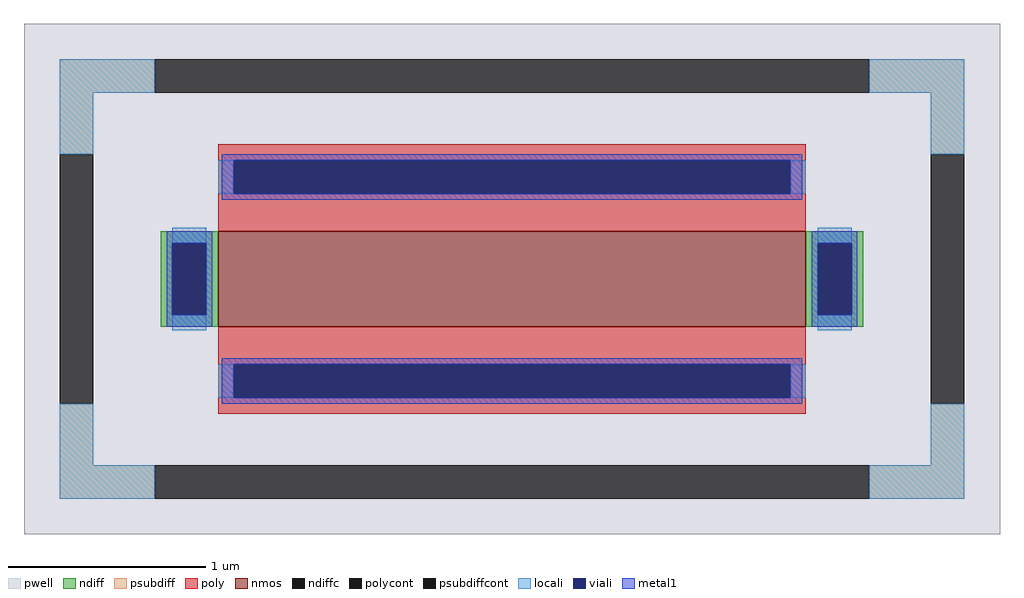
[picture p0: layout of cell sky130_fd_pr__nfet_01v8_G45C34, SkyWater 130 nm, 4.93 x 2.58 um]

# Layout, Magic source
magic
tech sky130A
magscale 1 2
<< pwell >>
rect -493 -258 493 258
<< nmos >>
rect -297 -48 297 48
<< ndiff >>
rect -355 36 -297 48
rect -355 -36 -343 36
rect -309 -36 -297 36
rect -355 -48 -297 -36
rect 297 36 355 48
rect 297 -36 309 36
rect 343 -36 355 36
rect 297 -48 355 -36
<< ndiffc >>
rect -343 -36 -309 36
rect 309 -36 343 36
<< psubdiff >>
rect -457 188 -361 222
rect 361 188 457 222
rect -457 126 -423 188
rect 423 126 457 188
rect -457 -188 -423 -126
rect 423 -188 457 -126
rect -457 -222 -361 -188
rect 361 -222 457 -188
<< psubdiffcont >>
rect -361 188 361 222
rect -457 -126 -423 126
rect 423 -126 457 126
rect -361 -222 361 -188
<< poly >>
rect -297 120 297 136
rect -297 86 -281 120
rect 281 86 297 120
rect -297 48 297 86
rect -297 -86 297 -48
rect -297 -120 -281 -86
rect 281 -120 297 -86
rect -297 -136 297 -120
<< polycont >>
rect -281 86 281 120
rect -281 -120 281 -86
<< locali >>
rect -457 188 -361 222
rect 361 188 457 222
rect -457 126 -423 188
rect 423 126 457 188
rect -297 86 -281 120
rect 281 86 297 120
rect -343 36 -309 52
rect -343 -52 -309 -36
rect 309 36 343 52
rect 309 -52 343 -36
rect -297 -120 -281 -86
rect 281 -120 297 -86
rect -457 -188 -423 -126
rect 423 -188 457 -126
rect -457 -222 -361 -188
rect 361 -222 457 -188
<< viali >>
rect -281 86 281 120
rect -343 -36 -309 36
rect 309 -36 343 36
rect -281 -120 281 -86
<< metal1 >>
rect -293 120 293 126
rect -293 86 -281 120
rect 281 86 293 120
rect -293 80 293 86
rect -349 36 -303 48
rect -349 -36 -343 36
rect -309 -36 -303 36
rect -349 -48 -303 -36
rect 303 36 349 48
rect 303 -36 309 36
rect 343 -36 349 36
rect 303 -48 349 -36
rect -293 -86 293 -80
rect -293 -120 -281 -86
rect 281 -120 293 -86
rect -293 -126 293 -120
<< properties >>
string FIXED_BBOX -440 -205 440 205
string gencell sky130_fd_pr__nfet_01v8
string library sky130
string parameters w 0.48 l 2.97 m 1 nf 1 diffcov 100 polycov 100 guard 1 glc 1 grc 1 gtc 1 gbc 1 tbcov 100 rlcov 100 topc 1 botc 1 poverlap 0 doverlap 1 lmin 0.15 wmin 0.42 compatible {sky130_fd_pr__nfet_01v8 sky130_fd_pr__nfet_01v8_lvt  sky130_fd_bs_flash__special_sonosfet_star  sky130_fd_pr__nfet_g5v0d10v5 sky130_fd_pr__nfet_05v0_nvt  sky130_fd_pr__nfet_03v3_nvt} full_metal 1 viasrc 100 viadrn 100 viagate 100 viagb 0 viagr 0 viagl 0 viagt 0
<< end >>
